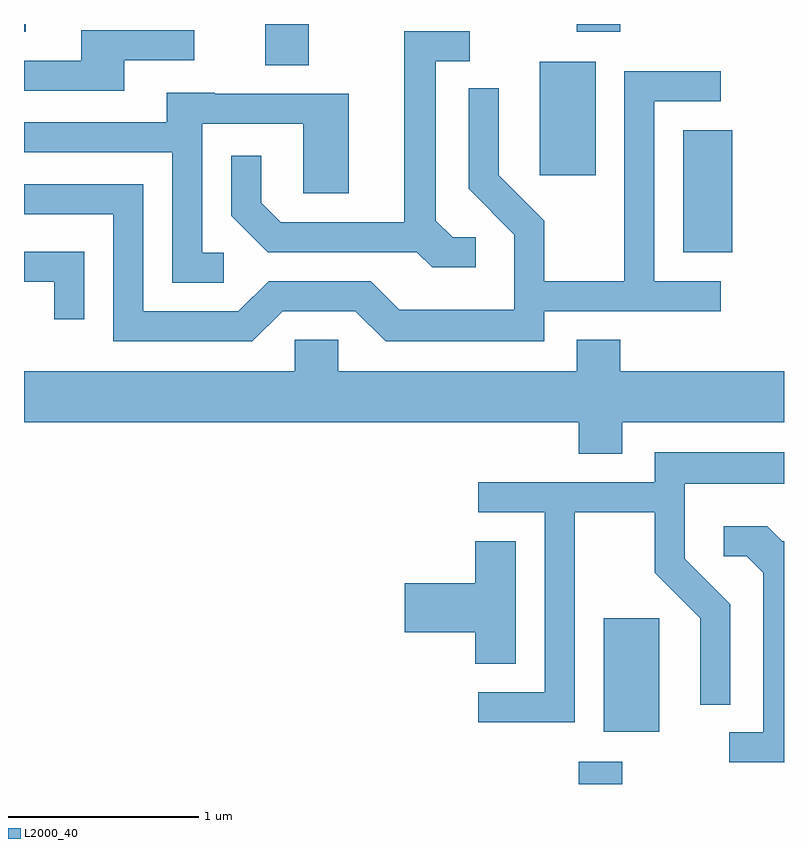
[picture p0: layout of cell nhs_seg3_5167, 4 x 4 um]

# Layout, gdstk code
import gdstk
lib = gdstk.Library(unit=1e-6, precision=1e-09)
def R(c, l, rs):  # rectangles x0, y0, x1, y1
    for r in rs: c.add(gdstk.rectangle(r[:2], r[2:], *l))
def P(c, l, *ps):  # polygons
    for p in ps: c.add(gdstk.Polygon(p, *l))
L2000_40 = (2000, 40)

nhs_seg3_5167 = lib.new_cell('nhs_seg3_5167')
R(nhs_seg3_5167, L2000_40, [(340.531,1121.892,340.759,1122.009), (340.661,1122.166,340.954,1122.764), (341.081,1124.691,341.339,1125.334), (340.326,1125.096,340.619,1125.694), (338.881,1125.676,339.109,1125.892), (337.611,1125.851,337.619,1125.892), (340.521,1125.851,340.749,1125.892)])
P(nhs_seg3_5167, L2000_40, [(338.139,1125.701),(338.508,1125.701),(338.508,1125.859),(337.911,1125.859),(337.911,1125.699),(337.611,1125.699),(337.611,1125.541),(338.139,1125.541)],
  [(339.988,1124.769),(339.867,1124.769),(339.779,1124.857),(339.779,1125.696),(339.958,1125.696),(339.958,1125.854),(339.611,1125.854),(339.611,1124.849),(338.962,1124.849),(338.859,1124.952),(338.859,1125.198),(338.701,1125.198),(338.701,1124.884),(338.894,1124.691),(339.679,1124.691),(339.759,1124.611),(339.988,1124.611)],
  [(338.972,1124.381),(339.354,1124.381),(339.514,1124.221),(340.349,1124.221),(340.349,1124.381),(341.278,1124.381),(341.278,1124.539),(340.929,1124.539),(340.929,1125.486),(341.278,1125.486),(341.278,1125.644),(340.771,1125.644),(340.771,1124.539),(340.349,1124.539),(340.349,1124.857),(340.109,1125.097),(340.109,1125.553),(339.951,1125.553),(339.951,1125.024),(340.191,1124.784),(340.191,1124.389),(339.587,1124.389),(339.437,1124.539),(338.899,1124.539),(338.739,1124.379),(338.239,1124.379),(338.239,1125.049),(337.611,1125.049),(337.611,1124.891),(338.081,1124.891),(338.081,1124.221),(338.812,1124.221)],
  [(338.663,1124.689),(338.549,1124.689),(338.549,1125.366),(339.081,1125.366),(339.081,1125.001),(339.319,1125.001),(339.319,1125.524),(338.615,1125.524),(338.615,1125.529),(338.361,1125.529),(338.361,1125.374),(337.611,1125.374),(337.611,1125.216),(338.391,1125.216),(338.391,1124.531),(338.663,1124.531)],
  [(337.929,1124.694),(337.611,1124.694),(337.611,1124.536),(337.771,1124.536),(337.771,1124.338),(337.929,1124.338)],
  [(340.759,1123.796),(341.611,1123.796),(341.611,1124.064),(340.749,1124.064),(340.749,1124.229),(340.521,1124.229),(340.521,1124.064),(339.264,1124.064),(339.264,1124.229),(339.036,1124.229),(339.036,1124.064),(337.611,1124.064),(337.611,1123.796),(340.531,1123.796),(340.531,1123.631),(340.759,1123.631)],
  [(340.509,1123.321),(340.931,1123.321),(340.931,1123.004),(341.171,1122.764),(341.171,1122.308),(341.329,1122.308),(341.329,1122.837),(341.089,1123.077),(341.089,1123.471),(341.611,1123.471),(341.611,1123.639),(340.931,1123.639),(340.931,1123.479),(340.003,1123.479),(340.003,1123.321),(340.351,1123.321),(340.351,1122.374),(340.003,1122.374),(340.003,1122.216),(340.509,1122.216)],
  [(341.611,1123.169),(341.602,1123.169),(341.522,1123.249),(341.293,1123.249),(341.293,1123.091),(341.414,1123.091),(341.501,1123.004),(341.501,1122.164),(341.323,1122.164),(341.323,1122.006),(341.611,1122.006)],
  [(340.199,1123.169),(339.986,1123.169),(339.986,1122.949),(339.616,1122.949),(339.616,1122.691),(339.986,1122.691),(339.986,1122.526),(340.199,1122.526)])

lib.write_gds('nhs_seg3_5167.gds')
